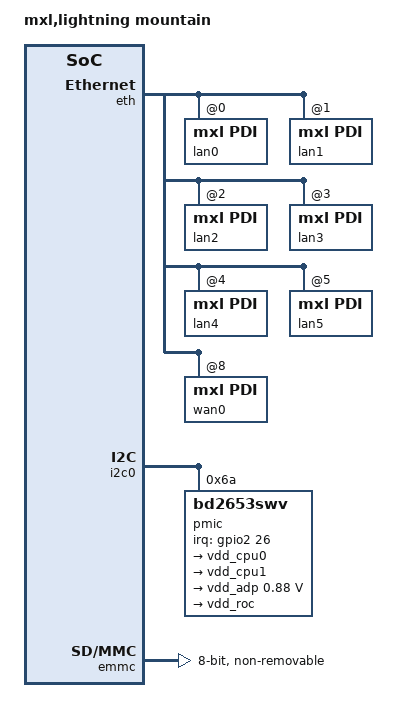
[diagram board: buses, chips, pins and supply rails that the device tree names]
// SPDX-License-Identifier: GPL-2.0
/*
 * Copyright (C) 2020-2023 MaxLinear, Inc.
 * Copyright (C) 2019-2020 Intel Corporation.
 *
 * This program is free software; you can redistribute it and/or modify it
 * under the terms of the GNU General Public License, as published by the Free
 * Software Foundation; either version 2 of the License, or (at your option)
 * any later version.
 *
 * This program is distributed in the hope that it will be useful, but WITHOUT
 * ANY WARRANTY; without even the implied warranty of MERCHANTABILITY or
 * FITNESS FOR A PARTICULAR PURPOSE.
 * See the GNU General Public License for more details.
 *
 * You should have received a copy of the GNU General Public License along
 * with this program; if not, see <http://www.gnu.org/licenses/>.
 */

/dts-v1/;
#include <dt-bindings/interrupt-controller/irq.h>

#include "lightning_mountain.dtsi"
#include "firewall_domain.dtsi"
#include "noc_firewall.dtsi"

/ {
	model = "mxl,lightning mountain", "mxl,simics";

	aliases {
		eth0_0 = &lan0;
		eth0_1 = &lan1;
		eth0_2 = &lan2;
		eth0_3 = &lan3;
		eth0_4 = &lan4;
		eth0_5 = &lan5;
	};

	chosen {
		/* ramfs */
		bootargs = "earlycon console=ttyLTQ0,115200n8r root=/dev/ram init=/init maxcpus=4 initcall_debug=0 clk_ignore_unused loglevel=8";
		stdout-path = "serial0";
	};
};

&eth {
	lan0: interface@0 {
		#address-cells = <1>;
		#size-cells = <0>;
		compatible = "mxl,pdi";
		mxl,dp-dev-port = <3>;
		mxl,dp-port-id = <3>;
		mxl,xgmac-id = <3>;
		phy-mode = "10gbase-kr";
		fixed-link {
			speed = <10000>;
			full-duplex;
			pause;
			asym-pause;
		};
		lan0_eth: ethernet@0 {
			compatible = "mxl,pdi-port";
			reg = <0>;
			phy-mode = "rgmii";
		};
	};

	lan1: interface@1 {
		#address-cells = <1>;
		#size-cells = <0>;
		compatible = "mxl,pdi";
		mxl,dp-dev-port = <4>;
		mxl,dp-port-id = <4>;
		mxl,xgmac-id = <4>;
		phy-mode = "10gbase-kr";
		fixed-link {
			speed = <10000>;
			full-duplex;
			pause;
			asym-pause;
		};
		lan1_eth: ethernet@1 {
			compatible = "mxl,pdi-port";
			reg = <1>;
			phy-mode = "rgmii";
		};
	};

	lan2: interface@2 {
		#address-cells = <1>;
		#size-cells = <0>;
		compatible = "mxl,pdi";
		mxl,dp-dev-port = <5>;
		mxl,dp-port-id = <5>;
		mxl,xgmac-id = <5>;
		phy-mode = "10gbase-kr";
		fixed-link {
			speed = <10000>;
			full-duplex;
			pause;
			asym-pause;
		};
		lan2_eth: ethernet@2 {
			compatible = "mxl,pdi-port";
			reg = <2>;
			phy-mode = "rgmii";
		};
	};

	lan3: interface@3 {
		#address-cells = <1>;
		#size-cells = <0>;
		compatible = "mxl,pdi";
		mxl,dp-dev-port = <6>;
		mxl,dp-port-id = <6>;
		mxl,xgmac-id = <6>;
		phy-mode = "10gbase-kr";
		fixed-link {
			speed = <10000>;
			full-duplex;
			pause;
			asym-pause;
		};
		lan3_eth: ethernet@3 {
			compatible = "mxl,pdi-port";
			reg = <3>;
			phy-mode = "rgmii";
		};
	};

	lan4: interface@4 {
		#address-cells = <1>;
		#size-cells = <0>;
		compatible = "mxl,pdi";
		mxl,dp-dev-port = <7>;
		mxl,dp-port-id = <7>;
		mxl,xgmac-id = <7>;
		phy-mode = "10gbase-kr";
		fixed-link {
			speed = <10000>;
			full-duplex;
			pause;
			asym-pause;
		};
		lan4_eth: ethernet@4 {
			compatible = "mxl,pdi-port";
			reg = <4>;
			phy-mode = "rgmii";
		};
	};

	lan5: interface@5 {
		#address-cells = <1>;
		#size-cells = <0>;
		compatible = "mxl,pdi";
		mxl,dp-dev-port = <8>;
		mxl,dp-port-id = <8>;
		mxl,xgmac-id = <8>;
		phy-mode = "10gbase-kr";
		fixed-link {
			speed = <10000>;
			full-duplex;
			pause;
			asym-pause;
		};
		lan5_eth: ethernet@5 {
			compatible = "mxl,pdi-port";
			reg = <5>;
			phy-mode = "rgmii";
		};
	};

	wan0: interface@8 {
		#address-cells = <1>;
		#size-cells = <0>;
		compatible = "mxl,pdi";
		mxl,wan = <1>;
		mxl,dp-dev-port = <2>;
		mxl,dp-port-id = <2>;
		mxl,xgmac-id = <2>;
		phy-mode = "10gbase-kr";
		fixed-link {
			speed = <10000>;
			full-duplex;
			pause;
			asym-pause;
		};
		wan0_eth: ethernet@8 {
			compatible = "mxl,pdi-port";
			reg = <8>;
			phy-mode = "rgmii";
		};
	};
};

&vuni {
	status = "disabled";
};

&cqm_lgm {
	interrupt-parent = <&ioapic1>;
	interrupts = <196 1>, <197 1>, <198 1>, <199 1>,
		<200 1>, <201 1>, <202 1>, <203 1>;
};

&i2c0 {
	pmic: pmic@6a {
		compatible = "bd2653swv";
		pinctrl-names = "default";
		pinctrl-0 = <&pinctrl_pmic_function>;
		reg = <0x6a>;
		interrupt-parent = <&gpio2>;
		interrupts = <26 IRQ_TYPE_LEVEL_HIGH>;

		vdd_cpu0: BUCK0 {
			regulator-compatible = "buck0";
			regulator-name = "cpu0";
		};

		vdd_cpu1: BUCK1 {
			regulator-compatible = "buck1";
			regulator-name = "cpu1";
		};

		vdd_adp: BUCK2 {
			regulator-compatible = "buck2";
			regulator-name = "adp";
			regulator-min-microvolt = <0>;
			regulator-max-microvolt = <880000>;
		};

		vdd_roc: BUCK3 {
			regulator-compatible = "buck3";
			regulator-name = "roc";
		};
	};
};

&epu {
	vdd-cpu0-supply = <&vdd_cpu0>;
	vdd-cpu1-supply = <&vdd_cpu1>;
	vdd-adp-supply = <&vdd_adp>;
};

/* we do not use phy on simics model */
&emmc {
	compatible = "intel,lgm-sdhci-5.1-emmc";
	bus-width = <8>;
	non-removable;
};

&emmc_phy {
	status = "disabled";
};

&gptc0 {
	status = "disabled";
};

&gptc1 {
	status = "disabled";
};

&gptc2 {
	status = "disabled";
};

&gptc3 {
	status = "disabled";
};

&dma0 {
	status = "disabled";
};

&crypto {
	status = "disabled";
};

&vpn {
	status = "disabled";
};

&pvt {
	status = "disabled";
};

&ppv4 {
	num-syncqs = <0>;
	num-sessions = <64>;
	frag-mode = <0>;
};

&qos {
	enhanced-wsp = <0>;
};

&ing_uc {
	max-cpu = <0>;
};

&egr_uc {
	max-cpu = <0>;
};

&adp {
	status = "disabled";
};

&toe {
	status = "disabled";
};
